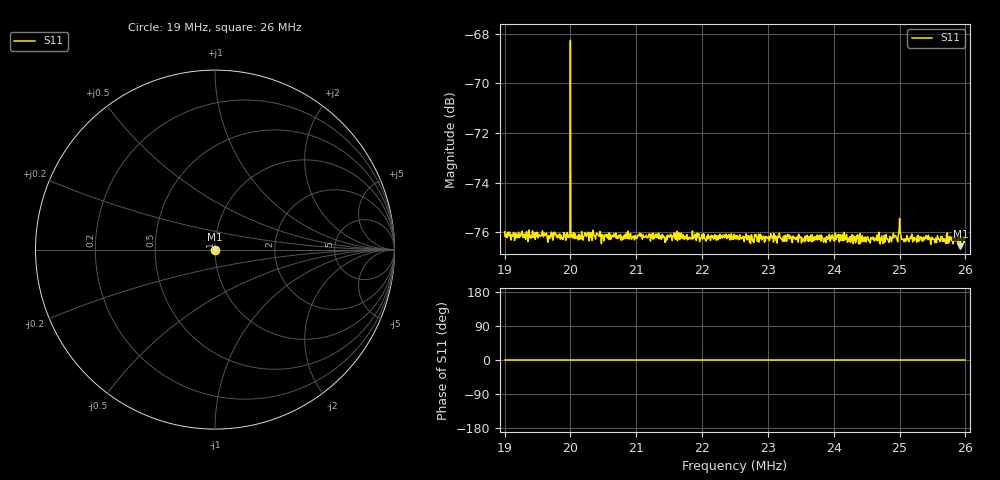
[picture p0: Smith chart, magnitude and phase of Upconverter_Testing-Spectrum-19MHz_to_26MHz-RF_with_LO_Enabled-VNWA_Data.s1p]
! ListType=Lin
# MHz S DB R 50
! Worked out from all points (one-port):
!   1024 points, 19 MHz to 26 MHz, reference 50 ohm
!   lowest |S11| = -76.6 dB at 25.92 MHz (marker M1), VSWR 1.00, Z = 50 + j0 ohm
!   |S11| at or under -10 dB: start of sweep to end of sweep
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19  -75.98 0.0
19.38319  -76.21 0.0
19.60215  -76.04 0.0
19.65005  -76.27 0.0
19.87586  -76.27 0.0
19.95797  -76.11 0.0
19.96481  -76.11 0.0
20.03324  -76.20 0.0
20.04008  -76.06 0.0
20.06061  -76.27 0.0
20.42326  -76.11 0.0
20.49853  -76.13 0.0
20.75171  -76.23 0.0
20.95699  -76.16 0.0
21.05279  -76.04 0.0
21.43597  -76.41 0.0
21.62757  -76.35 0.0
21.81232  -76.20 0.0
21.91496  -76.33 0.0
22.50342  -76.26 0.0
23.37928  -76.15 0.0
24.25513  -76.41 0.0
24.8436  -76.35 0.0
25.01466  -76.06 0.0
25.06256  -76.32 0.0
25.13099  -76.28 0.0
25.92473  -76.56 0.0
26  -76.18 0.0
